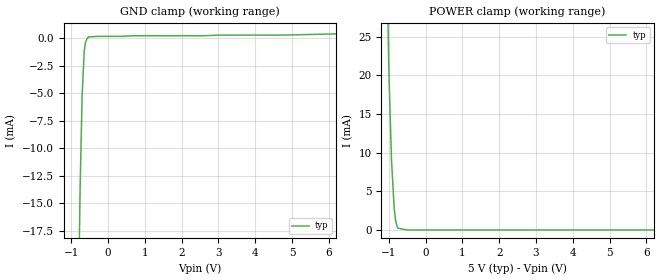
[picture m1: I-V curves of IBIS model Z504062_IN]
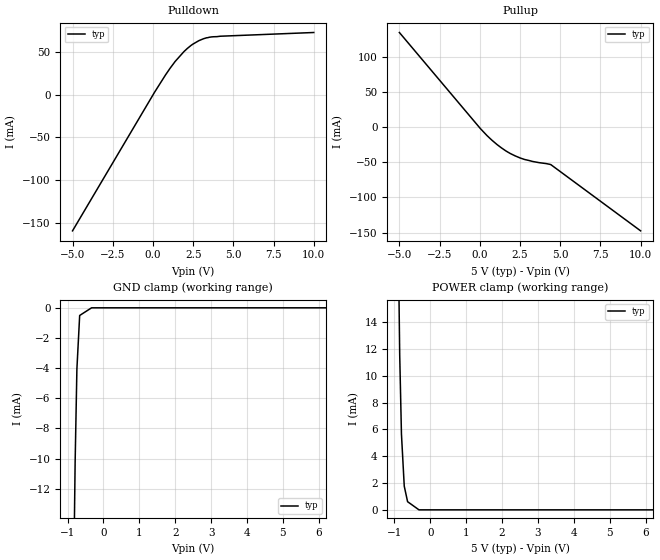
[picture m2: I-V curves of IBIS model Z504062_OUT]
| YOU ARE ONLY AUTHORIZED TO USE THIS SOFTWARE
| ACCORDING TO LICENSOR'S LICENSE RESTRICTIONS.
[IBIS Ver] 3.1
[File Name] mc54hc14aj.ibs
[File Rev] 2.0
[Source] Measured and created by ICX Technology
[Date] Friday 7/14/00 9:08:06 AM
[Copyright]
| (C) COPYRIGHT 1993-2000
| MENTOR GRAPHICS CORPORATION
| ICX STANDARD LIBRARY, ICX PROJECT MODELING,
| ICX CUSTOM MODELING, ICX VENDOR MODEL
| ALL RIGHTS RESERVED.
| THE FOLLOWING ARE TRADEMARKS OR SERVICE MARKS OF
| MENTOR GRAPHICS CORPORATION:ICX (R), ICX STANDARD
| LIBRARY(R), ICX PROJECT MODELING(R), ICX CUSTOM
| MODELING(R), qualityIBIS(TM), MODELVIEWER(TM),
| AND MODELEDITOR(TM)
| ALL COPIES OF SOFTWARE, INCLUDING BUT NOT LIMITED TO
| ANY MODIFICATIONS, ENHANCEMENTS OR DERIVATIVE WORKS,
| MUST CONTAIN ALL MENTOR GRAPHICS CORPORATION'S
| NOTICES AND LEGENDS, INCLUDING THOSE EMBEDDED IN
| SOFTWARE AND THOSE AFFIXED TO SOFTWARE MEDIUM
| AND CONTAINER, AS RECEIVED FROM MENTOR GRAPHICS
| CORPORATION.
|  ZAP Model Builder 2.7
[Component] MC54HC14AJ
[Manufacturer] OnSemiconductor
[Package]
| variable   typ   min   max
R_pkg  .21ohms NA NA
L_pkg  4.543nH NA NA
C_pkg  1.8pF NA NA
[Pin] signal_name  model_name  R_pin  L_pin C_pin
1 A Z504062_IN .22 6.757n 2.434p
2 Y Z504062_OUT .212 4.757n 1.941p
3 A Z504062_IN .204 3.257n 1.448p
4 Y Z504062_OUT .196 2.257n .955p
5 A Z504062_IN .204 3.257n 1.448p
6 Y Z504062_OUT .212 4.757n 1.941p
7 GROUND GND .22 6.757n 2.434p
8 Y Z504062_OUT .22 6.757n 2.434p
9 A Z504062_IN .212 4.757n 1.941p
10 Y Z504062_OUT .204 3.257n 1.448p
11 A Z504062_IN .196 2.257n .955p
12 Y Z504062_OUT .204 3.257n 1.448p
13 A Z504062_IN .212 4.757n 1.941p
14 VCC POWER .22 6.757n 2.434p
| Models and submodels in the file (2): Z504062_IN (Input), Z504062_OUT (Output)
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| (C) COPYRIGHT 1993-2000
| MENTOR GRAPHICS CORPORATION
| ICX STANDARD LIBRARY, ICX PROJECT MODELING,
| ICX CUSTOM MODELING, ICX VENDOR MODEL
| ALL RIGHTS RESERVED.
| THE FOLLOWING ARE TRADEMARKS OR SERVICE MARKS OF
| MENTOR GRAPHICS CORPORATION:ICX (R), ICX STANDARD
| LIBRARY(R), ICX PROJECT MODELING(R), ICX CUSTOM
| MODELING(R), qualityIBIS(TM), MODELVIEWER(TM),
| AND MODELEDITOR(TM)
| ALL COPIES OF SOFTWARE, INCLUDING BUT NOT LIMITED TO
| ANY MODIFICATIONS, ENHANCEMENTS OR DERIVATIVE WORKS,
| MUST CONTAIN ALL MENTOR GRAPHICS CORPORATION'S
| NOTICES AND LEGENDS, INCLUDING THOSE EMBEDDED IN
| SOFTWARE AND THOSE AFFIXED TO SOFTWARE MEDIUM
| AND CONTAINER, AS RECEIVED FROM MENTOR GRAPHICS
| CORPORATION.
| Model Application Version 1.89 2/18/99.
[Model] Z504062_IN
Model_type Input
Vinl = 1.000V
Vinh = 3.500V
C_comp 4.000pF NA NA
| variable typ   min   max
[Voltage Range] 5.000V NA NA
[GND Clamp Reference] 0.000V NA NA
[POWER Clamp Reference] 5.000V NA NA
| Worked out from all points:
|   GND clamp passes 1 mA (typ) near -0.64 V on its own axis
|   POWER clamp passes 1 mA (typ) near -0.80 V on its own axis
[GND Clamp]
-5V       -1.422A    NA         NA
-1.059V   -84.07mA   NA         NA
-756.6mV  -13.43mA   NA         NA
-702.3mV  -5.216mA   NA         NA
-646.1mV  -1.198mA   NA         NA
-610.2mV  -375.9uA   NA         NA
-571.3mV  -62.72uA   NA         NA
-532.2mV  110.5uA    NA         NA
723.2mV   219.3uA    NA         NA
4.751V    278.7uA    NA         NA
10V       666uA      NA         NA
[POWER Clamp]
-5V       1.642A     NA         NA
-1.366V   134.8mA    NA         NA
-1.149V   59.51mA    NA         NA
-991mV    19.79mA    NA         NA
-922mV    8.903mA    NA         NA
-850mV    2.75mA     NA         NA
-812mV    1.238mA    NA         NA
-771mV    430uA      NA         NA
-752mV    242.7uA    NA         NA
-501.3mV  0A         NA         NA
10V       0A         NA         NA
| (C) COPYRIGHT 1993-2000
| MENTOR GRAPHICS CORPORATION
| ICX STANDARD LIBRARY, ICX PROJECT MODELING,
| ICX CUSTOM MODELING, ICX VENDOR MODEL
| ALL RIGHTS RESERVED.
| THE FOLLOWING ARE TRADEMARKS OR SERVICE MARKS OF
| MENTOR GRAPHICS CORPORATION:ICX (R), ICX STANDARD
| LIBRARY(R), ICX PROJECT MODELING(R), ICX CUSTOM
| MODELING(R), qualityIBIS(TM), MODELVIEWER(TM),
| AND MODELEDITOR(TM)
| ALL COPIES OF SOFTWARE, INCLUDING BUT NOT LIMITED TO
| ANY MODIFICATIONS, ENHANCEMENTS OR DERIVATIVE WORKS,
| MUST CONTAIN ALL MENTOR GRAPHICS CORPORATION'S
| NOTICES AND LEGENDS, INCLUDING THOSE EMBEDDED IN
| SOFTWARE AND THOSE AFFIXED TO SOFTWARE MEDIUM
| AND CONTAINER, AS RECEIVED FROM MENTOR GRAPHICS
| CORPORATION.
| Model Application Version 1.89 2/18/99.
[Model] Z504062_OUT
Model_type Output
Vref=0.000V
Rref=500.0Mohms
Cref=50.00pF
Vmeas=2.500V
C_comp 8.000pF NA NA
| variable typ   min   max
[Voltage Range] 5.000V NA NA
[POWER Clamp Reference] 5.000V NA NA
[Pullup Reference] 5.000V NA NA
[Pulldown Reference] 0.000V NA NA
[GND Clamp Reference] 0.000V NA NA
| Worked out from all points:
|   slope of the pulldown table from 0 to 0.75 V, typ, clamps not added: 33.2 ohm
|   slope of the pullup table from 0 to 0.75 V, typ, clamps not added: 42.9 ohm
|   GND clamp passes 1 mA (typ) near -0.67 V on its own axis
|   POWER clamp passes 1 mA (typ) near -0.67 V on its own axis
[GND Clamp]
-5V       -1.18A     NA         NA
-1.049V   -60.31mA   NA         NA
-790.9mV  -10.31mA   NA         NA
-741.6mV  -4.078mA   NA         NA
-664.1mV  -508.6uA   NA         NA
-332mV    0A         NA         NA
10V       0A         NA         NA
[Pulldown]
-5V       -159.8mA   NA         NA
102.7mV   2.936mA    NA         NA
781.3mV   23.18mA    NA         NA
1.384V    39.09mA    NA         NA
2.141V    54.34mA    NA         NA
2.852V    63.4mA     NA         NA
3.647V    67.86mA    NA         NA
10V       73.03mA    NA         NA
[Pullup]
-5V       135.4mA    NA         NA
39mV      -1.753mA   NA         NA
449mV     -11.7mA    NA         NA
1.074V    -24.51mA   NA         NA
1.895V    -37.25mA   NA         NA
2.51V     -43.63mA   NA         NA
3.281V    -48.58mA   NA         NA
4.416V    -53.09mA   NA         NA
10V       -147.6mA   NA         NA
[POWER Clamp]
-5V       1.388A     NA         NA
-1.278V   128.1mA    NA         NA
-1.014V   46.17mA    NA         NA
-855mV    11.6mA     NA         NA
-806mV    5.654mA    NA         NA
-728mV    1.767mA    NA         NA
-635mV    608.6uA    NA         NA
-317.5mV  0A         NA         NA
10V       0A         NA         NA
[Ramp]
| variable typ min max
dV/dt_r 2.784/2.806n NA NA
dV/dt_f 2.784/2.777n NA NA
R_load = 500.0Ohms
